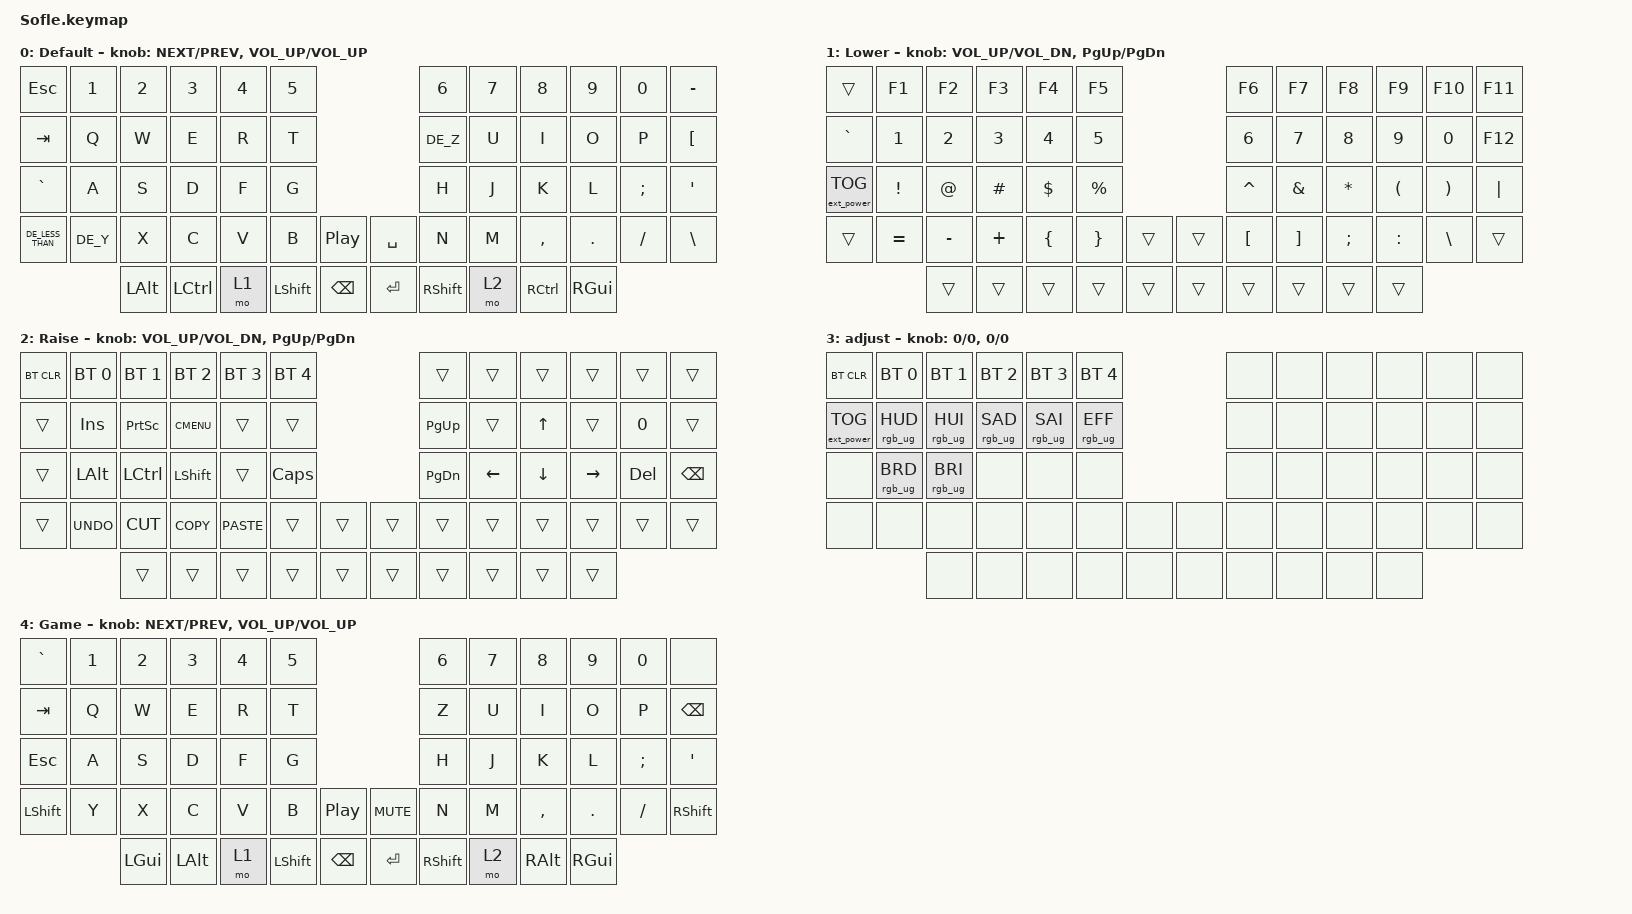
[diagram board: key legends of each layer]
/*
 * Copyright (c) 2020 The ZMK Contributors
 *
 * SPDX-License-Identifier: MIT
 */

#include <behaviors.dtsi>
#include <dt-bindings/zmk/bt.h>
#include <dt-bindings/zmk/ext_power.h>
#include <dt-bindings/zmk/keys.h>
#include <dt-bindings/zmk/rgb.h>
#include "keys_de.h"

#define BASE 0
#define LOWER 1
#define RAISE 2
#define ADJUST 3

/ {
    // Activate ADJUST layer by pressing raise and lower

    conditional_layers {
        compatible = "zmk,conditional-layers";

        adjust_layer {
            if-layers = <1 2>;
            then-layer = <3>;
        };
    };

    combos {
        compatible = "zmk,combos";

        Game {
            bindings = <&tog 4>;
            key-positions = <42 43>;
        };
    };

    keymap {
        compatible = "zmk,keymap";

        Default {
            // ------------------------------------------------------------------------------------------------------------
            // |   `   |  1  |  2  |  3   |  4   |  5   |                   |  6   |  7    |  8    |  9   |   0   | DE_SZ |
            // |  ESC  |  Q  |  W  |  E   |  R   |  T   |                   |  Y   |  U    |  I    |  O   |   P   | BKSPC |
            // |  TAB  |  A  |  S  |  D   |  F   |  G   |                   |  H   |  J    |  K    |  L   |   ;   |   '   |
            // | SHIFT |  Z  |  X  |  C   |  V   |  B   |  MUTE  |  |       |  N   |  M    |  ,    |  .   |   /   | SHIFT |
            //               | GUI | ALT  | CTRL | LOWER|  ENTER |  | SPACE | RAISE| CTRL  | ALT   | GUI  |

            bindings = <
&kp ESCAPE        &kp N1    &kp N2        &kp N3            &kp N4  &kp N5                                         &kp N6           &kp N7  &kp N8             &kp N9    &kp N0    &kp MINUS
&kp TAB           &kp Q     &kp W         &kp E             &kp R   &kp T                                          &kp DE_Z         &kp U   &kp I              &kp O     &kp P     &kp LEFT_BRACKET
&kp GRAVE         &kp A     &kp S         &kp D             &kp F   &kp G                                          &kp H            &kp J   &kp K              &kp L     &kp SEMI  &kp SQT
&kp DE_LESS_THAN  &kp DE_Y  &kp X         &kp C             &kp V   &kp B           &kp C_PLAY_PAUSE    &kp SPACE  &kp N            &kp M   &kp COMMA          &kp DOT   &kp FSLH  &kp BSLH
                            &kp LEFT_ALT  &kp LEFT_CONTROL  &mo 1   &kp LEFT_SHIFT  &kp BACKSPACE       &kp ENTER  &kp RIGHT_SHIFT  &mo 2   &kp RIGHT_CONTROL  &kp RGUI
            >;

            sensor-bindings =
                <&inc_dec_kp C_NEXT C_PREV>,
                <&inc_dec_kp C_VOLUME_UP C_VOLUME_UP>;
        };

        Lower {
            // TODO: Some binds are waiting for shifted keycode support.
            // ------------------------------------------------------------------------------------------------------------
            // |       |  F1 |  F2 |  F3  |  F4  |  F5  |                   |  F6  |  F7   |  F8   |  F9  |  F10  |  F11  |
            // |   `   |  1  |  2  |  3   |  4   |  5   |                   |  6   |  7    |  8    |  9   |   0   |  F12  |
            // |       |  !  |  @  |  #   |  $   |  %   |                   |  ^   |  &    |  *    |  (   |   )   |   |   |
            // |       |  =  |  -  |  +   |  {   |  }   |        |  |       |  [   |  ]    |  ;    |  :   |   \   |       |
            //               |     |      |      |      |        |  |       |      |       |       |      |

            bindings = <
&trans             &kp F1     &kp F2     &kp F3    &kp F4    &kp F5                       &kp F6     &kp F7    &kp F8     &kp F9     &kp F10   &kp F11
&kp GRAVE          &kp N1     &kp N2     &kp N3    &kp N4    &kp N5                       &kp N6     &kp N7    &kp N8     &kp N9     &kp N0    &kp F12
&ext_power EP_TOG  &kp EXCL   &kp AT     &kp HASH  &kp DLLR  &kp PRCNT                    &kp CARET  &kp AMPS  &kp ASTRK  &kp LPAR   &kp RPAR  &kp PIPE
&trans             &kp EQUAL  &kp MINUS  &kp PLUS  &kp LBRC  &kp RBRC   &trans    &trans  &kp LBKT   &kp RBKT  &kp SEMI   &kp COLON  &kp BSLH  &trans
                              &trans     &trans    &trans    &trans     &trans    &trans  &trans     &trans    &trans     &trans
            >;

            sensor-bindings = <&inc_dec_kp C_VOL_UP C_VOL_DN &inc_dec_kp PG_UP PG_DN>;
        };

        Raise {
            // ------------------------------------------------------------------------------------------------------------
            // | BTCLR | BT1  | BT2  |  BT3  |  BT4  |  BT5 |                |      |      |       |      |       |       |
            // |       | INS  | PSCR | GUI   |       |      |                | PGUP |      |   ^   |      |       |       |
            // |       | ALT  | CTRL | SHIFT |       | CAPS |                | PGDN |   <- |   v   |  ->  |  DEL  | BKSPC |
            // |       | UNDO | CUT  | COPY  | PASTE |      |      |  |      |      |      |       |      |       |       |
            //                |      |       |       |      |      |  |      |      |      |       |      |

            bindings = <
&bt BT_CLR  &bt BT_SEL 0  &bt BT_SEL 1  &bt BT_SEL 2  &bt BT_SEL 3  &bt BT_SEL 4                    &trans     &trans    &trans    &trans     &trans   &trans
&trans      &kp INS       &kp PSCRN     &kp K_CMENU   &trans        &trans                          &kp PG_UP  &trans    &kp UP    &trans     &kp N0   &trans
&trans      &kp LALT      &kp LCTRL     &kp LSHFT     &trans        &kp CLCK                        &kp PG_DN  &kp LEFT  &kp DOWN  &kp RIGHT  &kp DEL  &kp BSPC
&trans      &kp K_UNDO    &kp K_CUT     &kp K_COPY    &kp K_PASTE   &trans        &trans    &trans  &trans     &trans    &trans    &trans     &trans   &trans
                          &trans        &trans        &trans        &trans        &trans    &trans  &trans     &trans    &trans    &trans
            >;

            sensor-bindings = <&inc_dec_kp C_VOL_UP C_VOL_DN &inc_dec_kp PG_UP PG_DN>;
        };

        adjust_layer {
            // ----------------------------------------------------------------------------------------------------------------------------
            // | BTCLR  |  BT1    |  BT2    |   BT3   |   BT4   |   BT5   |                  |      |      |       |      |       |       |
            // | EXTPWR | RGB_HUD | RGB_HUI | RGB_SAD | RGB_SAI | RGB_EFF |                  |      |      |       |      |       |       |
            // |        | RGB_BRD | RGB_BRI |         |         |         |                  |      |      |       |      |       |       |
            // |        |         |         |         |         |         | RGB_TOG | |      |      |      |       |      |       |       |
            //                    |         |         |         |         |         | |      |      |      |       |      |

            display-name = "adjust";
            bindings = <
&bt BT_CLR         &bt BT_SEL 0     &bt BT_SEL 1     &bt BT_SEL 2     &bt BT_SEL 3     &bt BT_SEL 4                     &none  &none  &none  &none  &none  &none
&ext_power EP_TOG  &rgb_ug RGB_HUD  &rgb_ug RGB_HUI  &rgb_ug RGB_SAD  &rgb_ug RGB_SAI  &rgb_ug RGB_EFF                  &none  &none  &none  &none  &none  &none
&none              &rgb_ug RGB_BRD  &rgb_ug RGB_BRI  &none            &none            &none                            &none  &none  &none  &none  &none  &none
&none              &none            &none            &none            &none            &none            &none    &none  &none  &none  &none  &none  &none  &none
                                    &none            &none            &none            &none            &none    &none  &none  &none  &none  &none
            >;

            sensor-bindings = <&inc_dec_kp 0 0>, <&inc_dec_kp 0 0>;
        };

        Game {
            bindings = <
&kp GRAVE  &kp N1  &kp N2    &kp N3    &kp N4  &kp N5                                          &kp N6           &kp N7  &kp N8     &kp N9    &kp N0    &none
&kp TAB    &kp Q   &kp W     &kp E     &kp R   &kp T                                           &kp Z            &kp U   &kp I      &kp O     &kp P     &kp BSPC
&kp ESC    &kp A   &kp S     &kp D     &kp F   &kp G                                           &kp H            &kp J   &kp K      &kp L     &kp SEMI  &kp SQT
&kp LSHFT  &kp Y   &kp X     &kp C     &kp V   &kp B           &kp C_PLAY_PAUSE    &kp C_MUTE  &kp N            &kp M   &kp COMMA  &kp DOT   &kp FSLH  &kp RSHFT
                   &kp LGUI  &kp LALT  &mo 1   &kp LEFT_SHIFT  &kp BACKSPACE       &kp ENTER   &kp RIGHT_SHIFT  &mo 2   &kp RALT   &kp RGUI
            >;

            sensor-bindings =
                <&inc_dec_kp C_NEXT C_PREV>,
                <&inc_dec_kp C_VOLUME_UP C_VOLUME_UP>;
        };

        extra1 { status = "reserved"; };

        extra2 { status = "reserved"; };

        extra3 { status = "reserved"; };

        extra4 { status = "reserved"; };
    };
};
